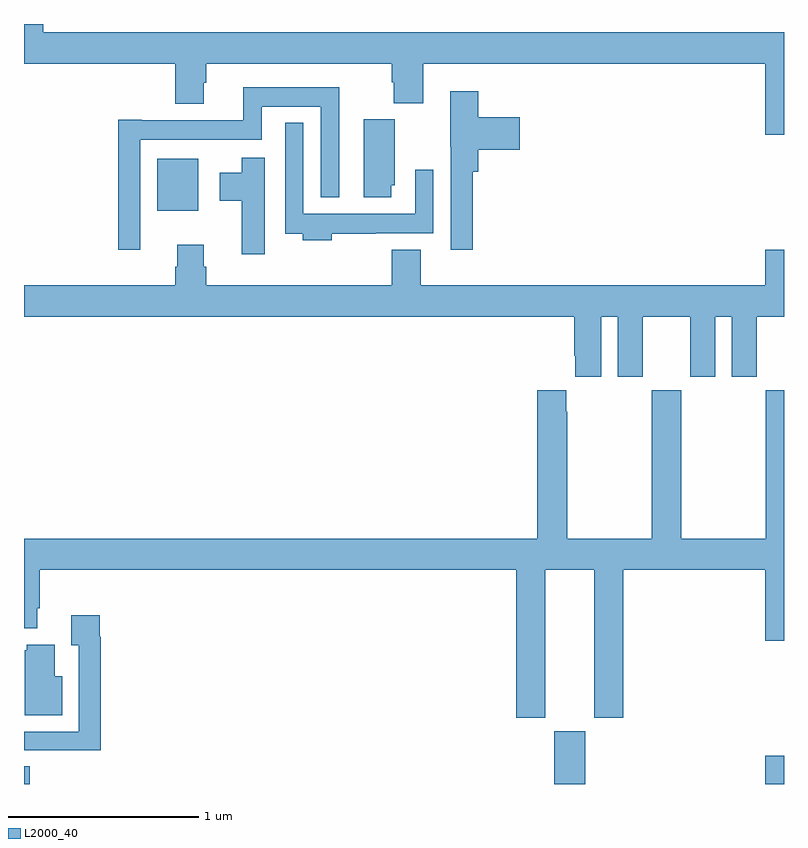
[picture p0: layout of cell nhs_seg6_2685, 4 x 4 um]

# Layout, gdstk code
import gdstk
lib = gdstk.Library(unit=1e-6, precision=1e-09)
def R(c, l, rs):  # rectangles x0, y0, x1, y1
    for r in rs: c.add(gdstk.rectangle(r[:2], r[2:], *l))
def P(c, l, *ps):  # polygons
    for p in ps: c.add(gdstk.Polygon(p, *l))
L2000_40 = (2000, 40)

nhs_seg6_2685 = lib.new_cell('nhs_seg6_2685')
R(nhs_seg6_2685, L2000_40, [(269,987.5,269.03,987.593), (271.79,987.5,271.954,987.777), (272.9,987.5,273,987.649), (269.702,990.518,269.917,990.79)])
P(nhs_seg6_2685, L2000_40, [(273,991.456),(269.102,991.456),(269.102,991.5),(269,991.5),(269,991.292),(269.795,991.292),(269.795,991.079),(269.947,991.079),(269.947,991.191),(269.96,991.191),(269.96,991.292),(270.935,991.292),(270.935,991.193),(270.947,991.193),(270.947,991.084),(271.1,991.084),(271.1,991.292),(272.9,991.292),(272.9,990.918),(273,990.918)],
  [(269.613,990.89),(270.252,990.89),(270.252,991.064),(270.561,991.064),(270.561,990.587),(270.658,990.587),(270.658,991.168),(270.155,991.168),(270.155,990.994),(269.62,990.994),(269.62,990.997),(269.497,990.997),(269.497,990.312),(269.613,990.312)],
  [(271.361,990.722),(271.391,990.722),(271.391,990.839),(271.609,990.839),(271.609,991.009),(271.391,991.009),(271.391,991.147),(271.244,991.147),(271.244,990.855),(271.245,990.855),(271.245,990.312),(271.361,990.312)],
  [(270.934,990.651),(270.952,990.651),(270.952,990.999),(270.788,990.999),(270.788,990.588),(270.934,990.588)],
  [(270.62,990.396),(270.851,990.396),(270.851,990.398),(271.155,990.398),(271.155,990.733),(271.059,990.733),(271.059,990.502),(270.471,990.502),(270.471,990.979),(270.375,990.979),(270.375,990.396),(270.467,990.396),(270.467,990.362),(270.62,990.362)],
  [(270.268,990.796),(270.146,990.796),(270.146,990.718),(270.029,990.718),(270.029,990.571),(270.146,990.571),(270.146,990.288),(270.268,990.288)],
  [(272.038,989.96),(272.126,989.96),(272.126,989.643),(272.257,989.643),(272.257,989.96),(272.507,989.96),(272.507,989.643),(272.638,989.643),(272.638,989.96),(272.726,989.96),(272.726,989.643),(272.857,989.643),(272.857,989.96),(273,989.96),(273,990.313),(272.9,990.313),(272.9,990.124),(271.087,990.124),(271.087,990.313),(270.935,990.313),(270.935,990.124),(269.96,990.124),(269.96,990.222),(269.947,990.222),(269.947,990.337),(269.807,990.337),(269.807,990.222),(269.795,990.222),(269.795,990.124),(269,990.124),(269,989.96),(271.895,989.96),(271.895,989.755),(271.901,989.755),(271.901,989.643),(272.038,989.643)],
  [(271.744,988.628),(272,988.628),(272,987.849),(272.153,987.849),(272.153,988.628),(272.9,988.628),(272.9,988.254),(273,988.254),(273,989.572),(272.905,989.572),(272.905,988.792),(272.46,988.792),(272.46,989.572),(272.305,989.572),(272.305,988.792),(271.86,988.792),(271.86,989.459),(271.855,989.459),(271.855,989.572),(271.7,989.572),(271.7,988.792),(269,988.792),(269,988.319),(269.071,988.319),(269.071,988.426),(269.084,988.426),(269.084,988.628),(271.592,988.628),(271.592,987.849),(271.744,987.849)],
  [(269.405,988.274),(269.398,988.274),(269.398,988.387),(269.249,988.387),(269.249,988.231),(269.289,988.231),(269.289,987.774),(269,987.774),(269,987.678),(269.113,987.678),(269.113,987.677),(269.405,987.677)],
  [(269.2,988.066),(269.161,988.066),(269.161,988.234),(269.015,988.234),(269.015,988.203),(269.003,988.203),(269.003,987.863),(269.2,987.863)])

lib.write_gds('nhs_seg6_2685.gds')
